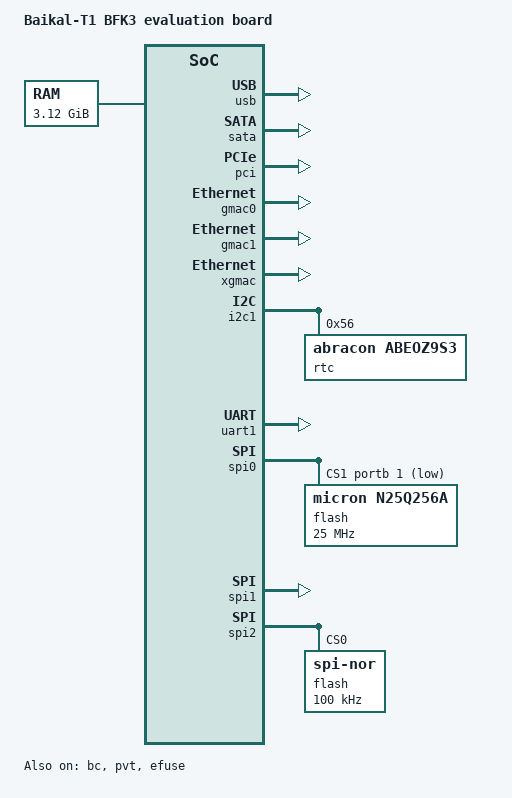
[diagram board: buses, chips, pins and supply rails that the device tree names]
/*
 * Baikal-T1 BFK3 evaluation board device tree
 *
 * Copyright (C) 2014-2018  Baikal Electronics JSC
 *
 * This program is free software; you can redistribute it and/or
 * modify it under the terms of the GNU General Public License
 * as published by the Free Software Foundation; either version 2
 * of the License, or (at your option) any later version.
 */

/dts-v1/;

#include <dt-bindings/interrupt-controller/mips-gic.h>
#include <dt-bindings/gpio/gpio.h>

#include  "baikal_t1_soc.dtsi"
#include  "baikal_mdio.dtsi"

/ {
	model = "Baikal-T1 BFK3 evaluation board";
	compatible = "baikal,mips", "baikal,baikal-t1-soc", "baikal,baikal-bfk3-eval-board";
	#address-cells = <1>;
	#size-cells = <1>;

	chosen {
		bootargs = "root=/dev/ram rw rootwait console=ttyS0,115200n8 earlyprintk=uart8250,mmio32,0x1F04A000,115200 maxcpus=2 nohtw";
		linux,initrd-start = <0x01000000>;
		linux,initrd-end   = <0x02000000>;
	};

	memory {
		device_type = "memory";
		reg = <0x00000000 0x08000000>,
		      <0x20000000 0xC0000000>;
	};
};

&usb {
	status = "okay";
};

&sata {
	status = "okay";
};

&pci {
	status = "okay";
};

&gmac0 {
	status = "okay";
};

&gmac1 {
	status = "okay";
};

&xgmac {
	status = "okay";
};

&gpio {
	status = "okay";
};

&gpio3 {
	status = "okay";
};

&i2c0 {
};

&i2c1 {
	rtc@56 {
		compatible = "abracon,abeoz9s3";
		reg = <0x56>;
	};
};

&uart1 {
	status = "okay";
};

&bc {
	status = "okay";
};

&spi0 {
	num-cs = <2>;
	cs-gpios = <&portb 0 GPIO_ACTIVE_LOW>,
			   <&portb 1 GPIO_ACTIVE_LOW>;

	status = "okay";

	flash@1 {
		#address-cells = <1>;
		#size-cells = <1>;
		status = "okay";
		compatible = "micron,n25q256a", "jedec,spi-nor";
		reg = <1>;
		spi-max-frequency = <25000000>;
		/* m25p,fast-read; */

		mtd@00000000 {
			label = "flash0";
			reg = <0x00000000 0x02000000>;
		};
	};
};

&spi1 {
	num-cs = <1>;
	cs-gpios = <&portb 2 GPIO_ACTIVE_LOW>;

	status = "okay";
};

&spi2 {
	num-cs = <1>;
	status = "okay";

	flash@0 {
		#address-cells = <1>;
		#size-cells = <1>;
		status = "okay";
		compatible = "jedec,spi-nor";
		reg = <0>;
		spi-max-frequency = <100000>;

		/* total size 16MB */
		part@0 {
			label = "UBOOT";
			reg = <0x0 0xa0000>;
		};
		part@A0000 {
			label = "ENVSET";
			reg = <0xa0000 0x10000>;
		};
		part@B0000 {
			label = "FIRMWARE";
			reg = <0xb0000 0x10000>;
		};
		part@C0000 {
			label = "FDT";
			reg = <0xc0000 0x10000>;
		};
		part@D0000 {
			label = "MULTIIMAGE";
			reg = <0xd0000 0xf30000>;
		};
	};
};

&pvt {
	status = "okay";
};

&efuse {
	status = "okay";
};

